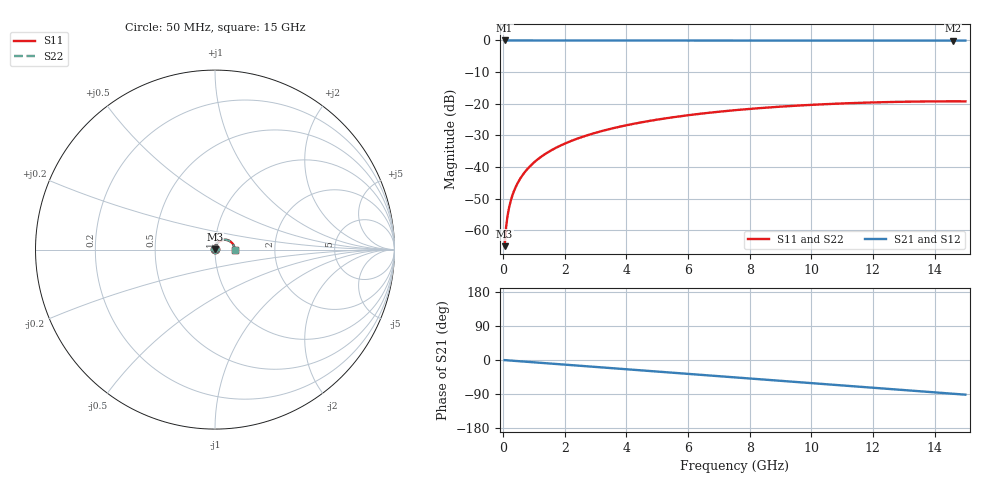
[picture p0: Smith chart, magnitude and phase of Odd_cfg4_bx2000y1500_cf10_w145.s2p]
! Sonnet Data File
! From: emgraph Version : 16.52
! From Emgraph Data: Waveguide
! Data File Written: 09/24/2017 17:22:02
!< HDATE 09/24/2017 16:48:35
!< MDATE 09/24/2017 16:48:35
# GHZ S MA R 50.00000
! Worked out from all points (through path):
!   300 points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, 50 MHz to 15 GHz, reference 50 ohm
!   highest |S21| = 0.00 dB at 50 MHz (marker M1); lowest = -0.1 dB at 14.6 GHz (marker M2)
!   group delay of S21, straight-line fit = 16.9 ps
!   lowest |S11| = -65.1 dB at 50 MHz (marker M3), VSWR 1.00, Z = 50 + j0.0558 ohm
!   |S11| at or under -10 dB: start of sweep to end of sweep
!   |S22| runs from -65.1 to -19.3 dB; largest |S21 - S12| = 0
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0.05  0.0005581 89.7  1 -0.3  1 -0.3  0.0005581 89.7
!< P1 F=0.05 Eeff=(undefined: mp) Z0=(undefined: mp) R=0.0 C=0.0
!< P2 F=0.05 Eeff=(undefined: mp) Z0=(undefined: mp) R=0.0 C=0.0
0.1  0.001149 89.4  1 -0.6  1 -0.6  0.001149 89.4
0.15  0.001739 89.1  1 -0.9  1 -0.9  0.001739 89.1
0.2  0.002329 88.8  1 -1.2  1 -1.2  0.002329 88.8
0.25  0.002919 88.5  1 -1.5  1 -1.5  0.002919 88.5
0.3  0.003509 88.2  1 -1.8  1 -1.8  0.003509 88.2
0.4  0.004688 87.6  1 -2.5  1 -2.5  0.004688 87.6
0.5  0.005866 86.9  1 -3.1  1 -3.1  0.005866 86.9
0.65  0.007631 86.0  1 -4.0  1 -4.0  0.007631 86.0
0.8  0.009393 85.1  1 -4.9  1 -4.9  0.009393 85.1
1  0.01174 83.9  0.9999 -6.1  0.9999 -6.1  0.01174 83.9
1.4  0.01641 81.4  0.9999 -8.6  0.9999 -8.6  0.01641 81.4
1.9  0.02219 78.4  0.9998 -11.7  0.9998 -11.7  0.02219 78.4
2.55  0.02961 74.4  0.9996 -15.6  0.9996 -15.6  0.02961 74.4
3.65  0.04181 67.6  0.9991 -22.4  0.9991 -22.4  0.04181 67.6
5.05  0.05645 59.1  0.9984 -30.9  0.9984 -30.9  0.05645 59.1
6.25  0.06798 51.7  0.9977 -38.3  0.9977 -38.3  0.06798 51.7
7.55  0.07916 43.8  0.9969 -46.2  0.9969 -46.2  0.07916 43.8
10.05  0.09615 28.6  0.9954 -61.4  0.9954 -61.4  0.09615 28.6
12.55  0.1063 13.4  0.9943 -76.6  0.9943 -76.6  0.1063 13.4
14.6  0.109 0.9  0.994 -89.0  0.994 -89.0  0.109 0.9
15  0.1089 -1.5  0.994 -91.5  0.994 -91.5  0.1089 -1.5
